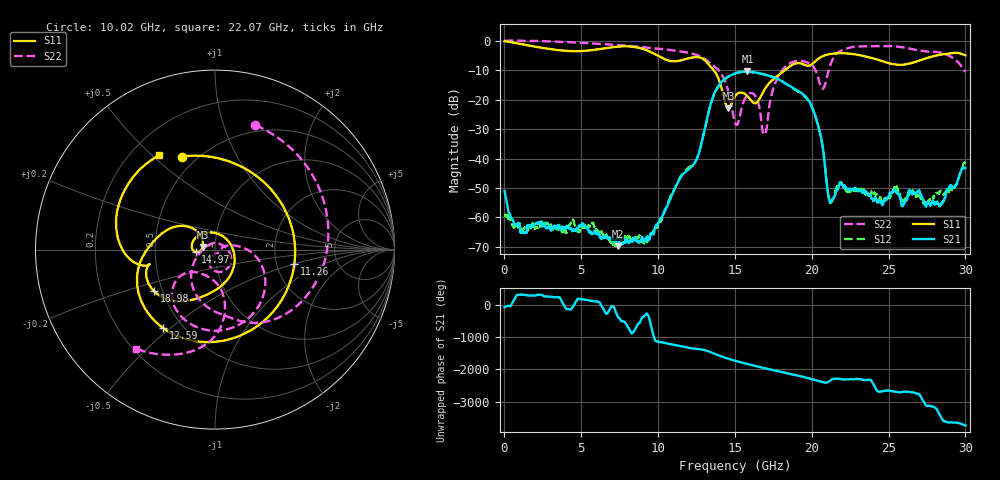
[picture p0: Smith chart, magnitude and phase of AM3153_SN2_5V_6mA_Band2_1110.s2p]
!Agilent Technologies,E8364B,MY43040894,A.07.50.67
!Agilent E8364B: A.07.50.67
!Date: Tuesday, May 12, 2020 09:53:11
!Correction: S11(Full 2 Port(1,2))
!S21(Full 2 Port(1,2))
!S12(Full 2 Port(1,2))
!S22(Full 2 Port(1,2))
!S2P File: Measurements: S11, S21, S12, S22:
# Hz S  dB  R 50
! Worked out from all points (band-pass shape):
!   1601 points, 10 MHz to 30 GHz, reference 50 ohm
!   highest |S21| = -10.47 dB at 15.81 GHz (marker M1); lowest = -69.7 dB at 7.358 GHz (marker M2)
!   |S21| within 3 dB of the highest: 14.23 GHz to 17.95 GHz (3.719 GHz wide, 23.1 % of centre)
!   lowest |S11| = -23.0 dB at 14.57 GHz (marker M3), VSWR 1.15, Z = 43.5 + j1.33 ohm
!   |S11| at or under -10 dB: 13.61 GHz to 18.26 GHz (4.653 GHz wide, 29.2 % of centre)
!   |S22| runs from -32.0 to 0.0 dB; largest |S21 - S12| = 0.006
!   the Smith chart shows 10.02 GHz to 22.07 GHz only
!   S11 on the Smith chart (normalised r, x): 10.02 GHz: 0.42, +0.62; 11.26 GHz: 2.51, -0.51; 12.59 GHz: 0.39, -0.47; 14.97 GHz: 0.80, -0.02; 18.98 GHz: 0.45, -0.25; 22.07 GHz: 0.31, +0.53
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1e7  -0.20 -5.7  -51.04 -61.2  -59.75 -165.1  -0.04 -1.8
1.172112e9  -1.31 -82.6  -65.09 -31.8  -64.48 -52.0  -0.09 -34.2
2.55915e9  -2.53 -164.2  -62.21 -72.9  -61.43 -82.6  -0.19 -73.8
5.014581e9  -3.55 61.7  -62.70 -175.9  -63.99 162.1  -0.74 -141.7
6.232925e9  -2.84 -8.4  -66.87 55.4  -65.26 178.3  -1.12 -174.4
7.35755e9  -2.05 -73.7  -69.74 22.2  -66.54 -107.7  -1.52 154.1
8.819562e9  -2.54 -162.5  -68.38 -169.1  -66.58 -144.2  -2.14 111.4
1.001916e10  -5.20 109.4  -62.12 -57.9  -62.39 -41.0  -2.74 72.0
1.125625e10  -6.94 -10.3  -48.39 -169.8  -48.40 -169.8  -3.50 27.0
1.258706e10  -5.61 -123.7  -39.21 79.9  -39.11 76.0  -5.01 -31.3
1.457389e10  -22.99 167.6  -12.16 133.7  -12.25 134.0  -17.30 -148.9
1.496751e10  -19.24 -173.2  -11.23 77.6  -11.25 77.4  -27.25 144.5
1.5005e10  -18.92 -174.5  -11.17 72.5  -11.18 72.2  -27.83 131.8
1.581098e10  -18.82 130.5  -10.47 -31.3  -10.62 -31.8  -18.48 -46.8
1.693561e10  -16.54 -47.7  -11.51 -160.8  -11.53 -160.5  -31.93 -47.6
1.897868e10  -7.73 -145.7  -16.68 -17.2  -16.91 -18.3  -6.97 -80.2
2.000958e10  -8.06 -166.9  -22.40 -142.6  -22.67 -142.1  -8.33 -126.9
2.117169e10  -4.56 155.3  -54.74 160.6  -54.43 -156.5  -8.86 -81.3
2.207139e10  -4.28 120.7  -49.44 -152.4  -49.72 -144.1  -3.02 -128.7
2.501416e10  -7.65 -21.9  -52.82 -138.4  -53.40 -155.9  -1.88 136.3
2.745085e10  -5.98 178.1  -56.31 114.2  -54.88 74.7  -3.68 73.4
3e10  -4.96 88.8  -43.24 -143.7  -41.18 -138.1  -10.55 -8.3
